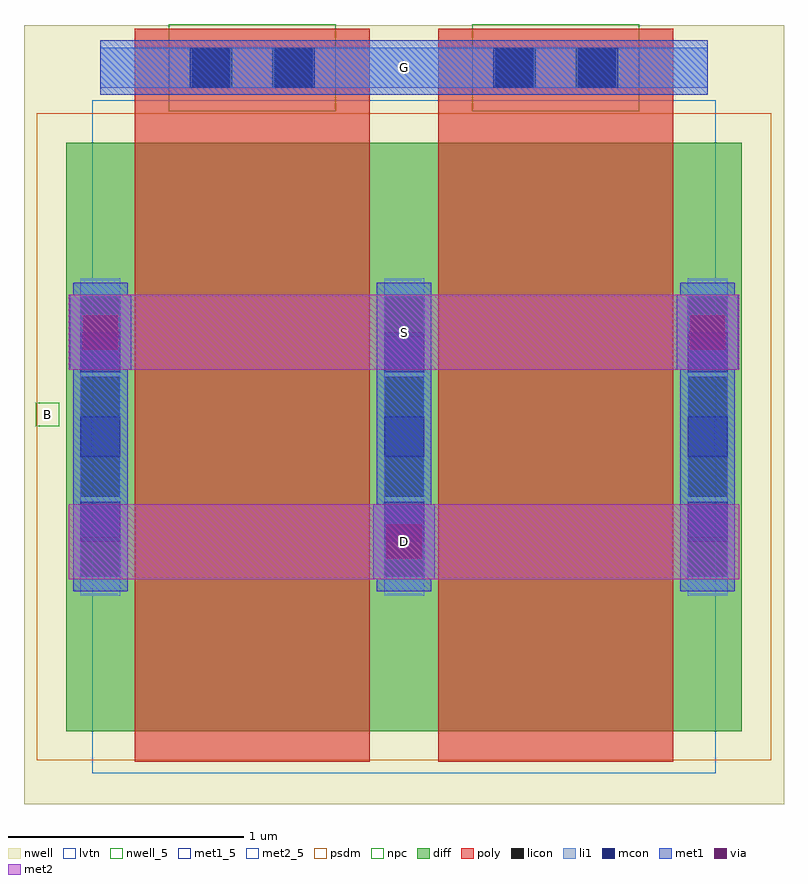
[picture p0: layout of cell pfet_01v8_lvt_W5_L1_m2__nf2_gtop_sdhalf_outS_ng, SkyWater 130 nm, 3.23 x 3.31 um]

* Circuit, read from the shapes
.subckt pfet_01v8_lvt_W5_L1_m2__nf2_gtop_sdhalf_outS_ng B D G S
XM1 D G S B sky130_fd_pr__pfet_01v8_lvt w=2.5 l=1 m=2
.ends

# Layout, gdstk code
import gdstk
lib = gdstk.Library(unit=1e-6, precision=1e-09)
def R(c, l, rs):  # rectangles x0, y0, x1, y1
    for r in rs: c.add(gdstk.rectangle(r[:2], r[2:], *l))
def A(c, l, x, y, w, h, nx, ny, dx, dy):  # array of equal rectangles
    R(c, l, [(x+i*dx, y+j*dy, x+i*dx+w, y+j*dy+h) for i in range(nx) for j in range(ny)])
nwell_5 = (64, 5)
nwell = (64, 20)
diff = (65, 20)
poly = (66, 20)
licon = (66, 44)
li1 = (67, 20)
mcon = (67, 44)
met1_5 = (68, 5)
met1 = (68, 20)
via = (68, 44)
met2_5 = (69, 5)
met2 = (69, 20)
psdm = (94, 20)
npc = (95, 20)
lvtn = (125, 44)

sky130_fd_pr__pfet_01v8_ = lib.new_cell('sky130_fd_pr__pfet_01v8_lvt_CCRKU9')
R(sky130_fd_pr__pfet_01v8_, nwell, [(-1.615,-1.74,1.615,1.57)])
R(sky130_fd_pr__pfet_01v8_, diff, [(-1.435,-1.43,1.435,1.07)])
R(sky130_fd_pr__pfet_01v8_, poly, [(-1.145,-1.56,-0.145,1.555), (0.145,-1.56,1.145,1.555)])
A(sky130_fd_pr__pfet_01v8_, licon, -1.375, -0.775, 0.17, 0.17, 3, 4, 1.29, 0.34)
R(sky130_fd_pr__pfet_01v8_, licon, [(-0.9,1.305,-0.73,1.475), (-0.56,1.305,-0.39,1.475), (0.39,1.305,0.56,1.475), (0.73,1.305,0.9,1.475)])
A(sky130_fd_pr__pfet_01v8_, li1, -1.375, -0.855, 0.17, 1.35, 3, 1, 1.29, 0)
R(sky130_fd_pr__pfet_01v8_, li1, [(-1.29,1.305,1.29,1.475)])
A(sky130_fd_pr__pfet_01v8_, mcon, -1.375, -0.625, 0.17, 0.17, 3, 3, 1.29, 0.36)
R(sky130_fd_pr__pfet_01v8_, mcon, [(-0.91,1.305,-0.74,1.475), (-0.55,1.305,-0.38,1.475), (0.38,1.305,0.55,1.475), (0.74,1.305,0.91,1.475)])
A(sky130_fd_pr__pfet_01v8_, met1, -1.405, -0.835, 0.23, 1.31, 3, 1, 1.29, 0)
R(sky130_fd_pr__pfet_01v8_, met1, [(-1.125,1.275,-0.165,1.305), (0.165,1.275,1.125,1.305), (-1.29,1.305,1.29,1.475), (-1.125,1.475,-0.165,1.505), (0.165,1.475,1.125,1.505)])
R(sky130_fd_pr__pfet_01v8_, psdm, [(-1.56,-1.555,1.56,1.195)])
R(sky130_fd_pr__pfet_01v8_, npc, [(-1,1.205,-0.29,1.575), (0.29,1.205,1,1.575)])
R(sky130_fd_pr__pfet_01v8_, lvtn, [(-1.325,-1.61,1.325,1.25)])
sky130_fd_pr__pfet_01v8_.add(gdstk.Label('D0', (-1.29,-0.18), layer=67, texttype=5))
sky130_fd_pr__pfet_01v8_.add(gdstk.Label('G', (0.645,1.39), layer=67, texttype=5))
sky130_fd_pr__pfet_01v8_.add(gdstk.Label('G', (-0.645,1.39), layer=67, texttype=5))
sky130_fd_pr__pfet_01v8_.add(gdstk.Label('S1', (0,-0.18), layer=67, texttype=5))

pfet_01v8_lvt_w5_l1_m2__ = lib.new_cell('pfet_01v8_lvt_W5_L1_m2__nf2_gtop_sdhalf_outS_ng')
R(pfet_01v8_lvt_w5_l1_m2__, nwell_5, [(0.05,1.605,0.15,1.705)])
R(pfet_01v8_lvt_w5_l1_m2__, nwell, [(0.05,1.605,0.15,1.705)])
R(pfet_01v8_lvt_w5_l1_m2__, met1_5, [(0.325,3.015,2.905,3.245)])
R(pfet_01v8_lvt_w5_l1_m2__, met1, [(1.485,0.955,1.745,1.275), (0.195,1.845,0.455,2.165), (2.775,1.845,3.035,2.165), (0.325,3.015,2.905,3.245)])
R(pfet_01v8_lvt_w5_l1_m2__, via, [(1.54,1.04,1.69,1.19), (0.25,1.93,0.4,2.08), (2.83,1.93,2.98,2.08)])
R(pfet_01v8_lvt_w5_l1_m2__, met2_5, [(0.19,0.955,3.04,1.275), (0.19,1.845,3.04,2.165)])
R(pfet_01v8_lvt_w5_l1_m2__, met2, [(0.19,0.955,3.04,1.275), (0.19,1.845,3.04,2.165)])
pfet_01v8_lvt_w5_l1_m2__.add(gdstk.Reference(sky130_fd_pr__pfet_01v8_, (1.615,1.74)))
pfet_01v8_lvt_w5_l1_m2__.add(gdstk.Label('S', (1.615,2.005), layer=69, texttype=5))
pfet_01v8_lvt_w5_l1_m2__.add(gdstk.Label('D', (1.615,1.115), layer=69, texttype=5))
pfet_01v8_lvt_w5_l1_m2__.add(gdstk.Label('G', (1.615,3.13), layer=68, texttype=5))
pfet_01v8_lvt_w5_l1_m2__.add(gdstk.Label('B', (0.1,1.655), layer=64, texttype=5))

lib.write_gds('pfet_01v8_lvt_W5_L1_m2__nf2_gtop_sdhalf_outS_ng.gds')
